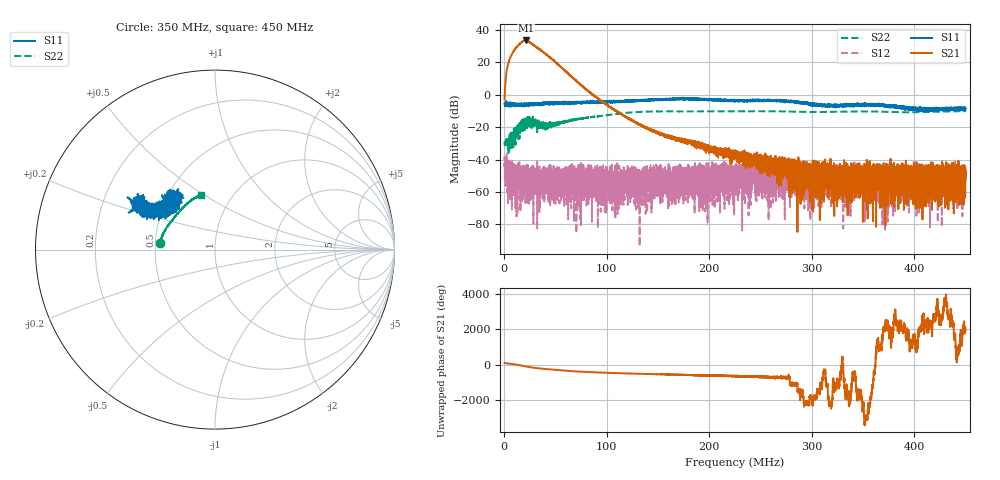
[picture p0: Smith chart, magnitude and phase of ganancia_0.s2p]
# Hz S DB R 50
! CMT, M5065, 19127446, 24.2.4/2
! Date: 12/3/2024 4:17:43 PM
! Data: Format (Calibration Info)
! Freq	S11:dB/Ang(F2)	S21:dB/Ang(F2)	S12:dB/Ang(F2)	S22:dB/Ang(F2)
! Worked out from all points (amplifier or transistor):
!   9000 points, 300 kHz to 450 MHz, reference 50 ohm
!   highest |S21| = 33.5 dB at 21.14 MHz (marker M1)
!   |S21| within 3 dB of that: 13.66 MHz to 28.87 MHz (15.21 MHz wide, 71.5 % of centre)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
!   unconditionally stable (mu >= 1): start of sweep to end of sweep
!   at 75.26 MHz: K = 93.08, MAG = 7.7 dB, |S12| = -55.0 dB
!   at 225.2 MHz: K = 2705.54, MAG = -33.8 dB, |S12| = -43.6 dB
!   at 450 MHz: K = 35553.20, MAG = -48.1 dB, |S12| = -50.1 dB
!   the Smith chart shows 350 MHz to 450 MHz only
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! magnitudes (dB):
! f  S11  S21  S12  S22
! 300 kHz  -5.6  -2.8  -41.4  -30.5
! 3.248 MHz  -5.7  17.8  -47.7  -28.2
! 6.397 MHz  -5.5  23.7  -49.7  -31.1
! 13.69 MHz  -6.1  30.6  -55.7  -21.8
! 21.14 MHz  -6.9  33.5  -55.5  -16.8
! 40.88 MHz  -5.2  24.9  -47.8  -17.7
! 75.26 MHz  -4.7  5.7  -55.0  -14.6
! 109.3 MHz  -4.3  -9.9  -57.6  -11.9
! 150.2 MHz  -2.9  -23.1  -55.9  -10.3
! 225.2 MHz  -3.9  -36.5  -43.6  -10.2
! 231.3 MHz  -3.7  -35.9  -46.9  -10.2
! 238.2 MHz  -4.0  -38.8  -61.1  -10.2
! 243 MHz  -3.7  -41.5  -46.0  -10.2
! 252.6 MHz  -3.5  -43.0  -54.3  -10.1
! 281.1 MHz  -4.1  -45.5  -46.1  -10.4
! 300.1 MHz  -5.8  -45.8  -45.8  -10.6
! 337.1 MHz  -6.3  -47.4  -52.7  -10.3
! 341.8 MHz  -6.0  -48.4  -63.5  -10.3
! 369.6 MHz  -5.6  -48.5  -56.7  -10.4
! 375.1 MHz  -7.0  -51.6  -52.6  -10.5
! 402.5 MHz  -8.6  -48.2  -52.6  -10.8
! 450 MHz  -8.3  -49.2  -50.1  -10.1
